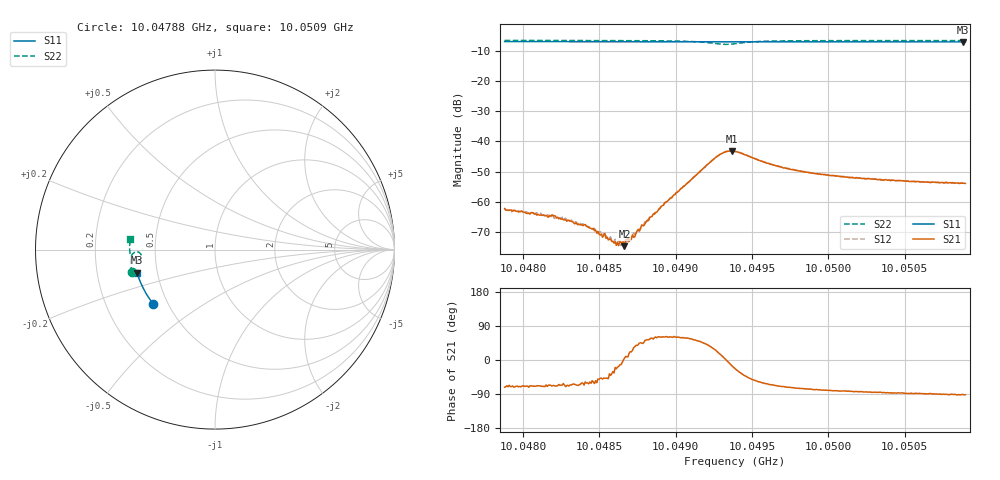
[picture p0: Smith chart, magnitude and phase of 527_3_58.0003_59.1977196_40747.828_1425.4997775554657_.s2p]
#  HZ  S  RI  R  50.00
! Rohde & Schwarz Vector Network Analyzer
! Rohde-Schwarz,ZNB20-2Port,1311601062101988,3.16
! Created: UTC 3/21/2024, 1:13:57 AM
! freq[Hz]  re:S11  im:S11  re:S21  im:S21  re:S12  im:S12  re:S22  im:S22
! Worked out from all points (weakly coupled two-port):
!   401 points, 10.04788 GHz to 10.0509 GHz, reference 50 ohm
!   highest |S21| = -43.16 dB at 10.04937 GHz (marker M1); lowest = -74.8 dB at 10.04866 GHz (marker M2)
!   lowest |S11| = -6.9 dB at 10.05088 GHz (marker M3), VSWR 2.65, Z = 19.2 - j6.25 ohm
!   |S11| at or under -10 dB: nowhere
!   |S22| runs from -7.7 to -6.4 dB; largest |S21 - S12| = 0.0005
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1.004788e10  -0.3429 -0.3027  0.000242 -0.000728  0.00033 -0.000696  -0.4612 -0.1265
1.0048106e10  -0.3521 -0.291  0.00022 -0.000553  0.000274 -0.000569  -0.4645 -0.111
1.0048197e10  -0.3558 -0.2863  0.000223 -0.000532  0.000241 -0.000557  -0.4658 -0.1046
1.0048386e10  -0.3632 -0.2764  0.000205 -0.000359  0.000197 -0.000364  -0.4679 -0.0911
1.0048461e10  -0.3659 -0.2722  0.00019 -0.000304  0.000193 -0.000287  -0.4686 -0.0853
1.0048597e10  -0.3711 -0.2648  0.000169 -0.000115  0.000192 -8.36e-05  -0.4696 -0.0747
1.0048612e10  -0.3717 -0.264  0.000172 -7.34e-05  0.0002 -5.57e-05  -0.4696 -0.0735
1.004865e10  -0.3732 -0.262  0.00021 -2.69e-05  0.000203 2e-05  -0.4699 -0.0704
1.0048665e10  -0.3736 -0.2611  0.000181 1.4e-05  0.000188 3.15e-05  -0.47 -0.0693
1.0048718e10  -0.3755 -0.2583  0.000253 0.00012  0.000224 0.000136  -0.4701 -0.0649
1.0048763e10  -0.3771 -0.2557  0.000233 0.000232  0.000228 0.000225  -0.47 -0.0608
1.0048816e10  -0.379 -0.2529  0.00029 0.000394  0.000254 0.00042  -0.4698 -0.056
1.0048891e10  -0.3816 -0.2485  0.000358 0.000662  0.000336 0.000672  -0.469 -0.0486
1.0049261e10  -0.3933 -0.2272  0.00484 0.00241  0.0047 0.00269  -0.4254 -0.0143
1.0049314e10  -0.3947 -0.2244  0.00647 0.000813  0.00644 0.00122  -0.4118 -0.0284
1.0049367e10  -0.3962 -0.2214  0.00674 -0.00172  0.00684 -0.0013  -0.4129 -0.0495
1.0049389e10  -0.3971 -0.2203  0.0063 -0.00264  0.00649 -0.00219  -0.4183 -0.0563
1.0049638e10  -0.4048 -0.206  0.00167 -0.00372  0.00188 -0.00365  -0.4654 -0.0444
1.0049895e10  -0.4118 -0.1906  0.000634 -0.00291  0.000832 -0.00287  -0.4737 -0.0183
1.0050401e10  -0.4237 -0.1596  0.000133 -0.00229  0.000274 -0.00227  -0.4755 0.0216
1.0050884e10  -0.4333 -0.1294  -3.7e-05 -0.00203  6.54e-05 -0.00203  -0.4726 0.0555
1.0050899e10  -0.4335 -0.1286  -5.66e-05 -0.00201  5.25e-05 -0.00199  -0.4725 0.0564
